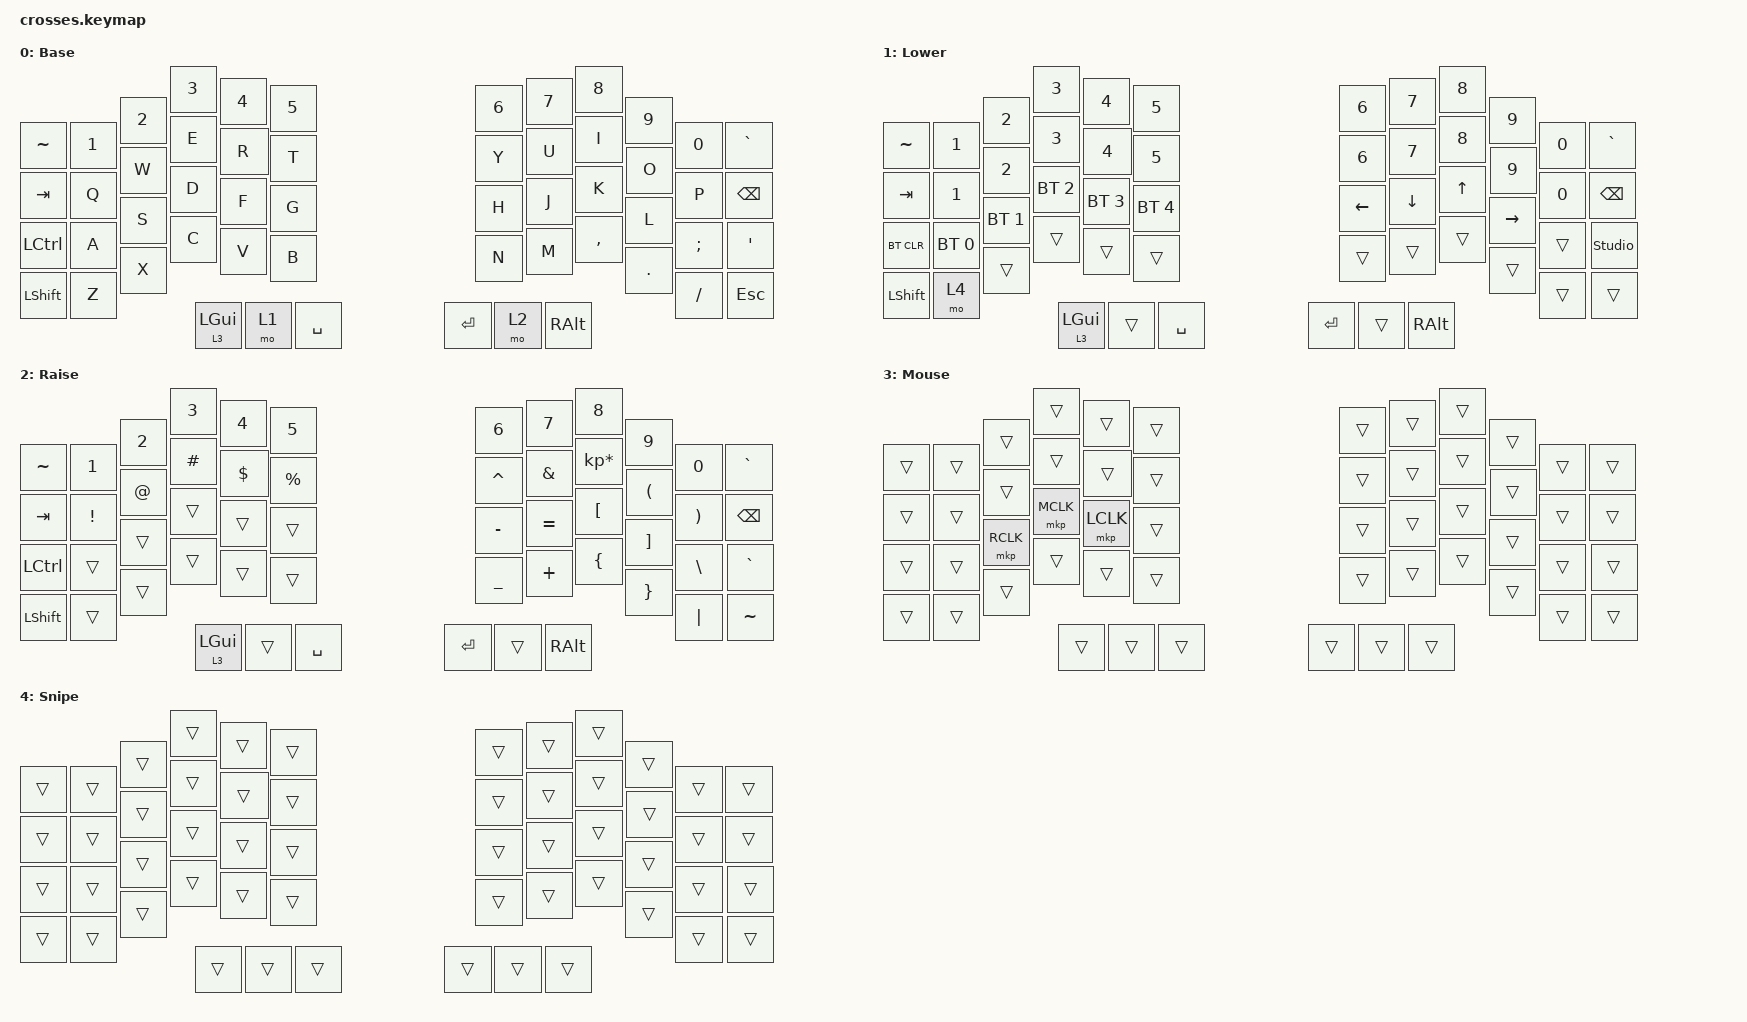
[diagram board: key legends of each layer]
#include <behaviors.dtsi>
#include <dt-bindings/zmk/bt.h>
#include <dt-bindings/zmk/keys.h>
#include <dt-bindings/zmk/pointing.h>

&lt {
    tapping-term-ms = <200>;
    flavor = "balanced";
    quick-tap-ms = <150>;
};

/ {
    combos {
        compatible = "zmk,combos";
        // ZMK Studio unlock = press the two inner keys (T-pos + Y-pos) together
        combo_studio_unlock {
            timeout-ms = <100>;
            key-positions = <17 18>;
            bindings = <&studio_unlock>;
        };
    };

    keymap {
        compatible = "zmk,keymap";

        Base {
            display-name = "Base";
            bindings = <
&kp TILDE &kp N1 &kp N2 &kp N3 &kp N4 &kp N5   &kp N6 &kp N7 &kp N8    &kp N9  &kp N0   &kp GRAVE
&kp TAB   &kp Q  &kp W  &kp E  &kp R  &kp T    &kp Y  &kp U  &kp I     &kp O   &kp P    &kp BSPC
&kp LCTRL &kp A  &kp S  &kp D  &kp F  &kp G    &kp H  &kp J  &kp K     &kp L   &kp SEMI &kp SQT
&kp LSHFT &kp Z  &kp X  &kp C  &kp V  &kp B    &kp N  &kp M  &kp COMMA &kp DOT &kp FSLH &kp ESC
                  &lt 3 LGUI &mo 1 &kp SPACE   &kp RET &mo 2 &kp RALT
            >;
        };

        Lower {
            display-name = "Lower";
            bindings = <
&kp TILDE  &kp N1       &kp N2       &kp N3       &kp N4       &kp N5         &kp N6   &kp N7   &kp N8 &kp N9    &kp N0 &kp GRAVE
&kp TAB    &kp N1       &kp N2       &kp N3       &kp N4       &kp N5         &kp N6   &kp N7   &kp N8 &kp N9    &kp N0 &kp BSPC
&bt BT_CLR &bt BT_SEL 0 &bt BT_SEL 1 &bt BT_SEL 2 &bt BT_SEL 3 &bt BT_SEL 4   &kp LEFT &kp DOWN &kp UP &kp RIGHT &trans &studio_unlock
&kp LSHFT  &mo 4        &trans       &trans       &trans       &trans         &trans   &trans   &trans &trans    &trans &trans
                            &lt 3 LGUI   &trans       &kp SPACE      &kp RET   &trans   &kp RALT
            >;
        };

        Raise {
            display-name = "Raise";
            bindings = <
&kp TILDE &kp N1   &kp N2 &kp N3   &kp N4   &kp N5      &kp N6    &kp N7    &kp N8          &kp N9   &kp N0   &kp GRAVE
&kp TAB   &kp EXCL &kp AT &kp HASH &kp DLLR &kp PRCNT   &kp CARET &kp AMPS  &kp KP_MULTIPLY &kp LPAR &kp RPAR &kp BSPC
&kp LCTRL &trans   &trans &trans   &trans   &trans      &kp MINUS &kp EQUAL &kp LBKT        &kp RBKT &kp BSLH &kp GRAVE
&kp LSHFT &trans   &trans &trans   &trans   &trans      &kp UNDER &kp PLUS  &kp LBRC        &kp RBRC &kp PIPE &kp TILDE
                     &lt 3 LGUI &trans &kp SPACE   &kp RET &trans &kp RALT
            >;
        };

        Mouse {
            display-name = "Mouse";
            bindings = <
&trans &trans &trans    &trans    &trans    &trans   &trans &trans &trans &trans &trans &trans
&trans &trans &trans    &trans    &trans    &trans   &trans &trans &trans &trans &trans &trans
&trans &trans &mkp RCLK &mkp MCLK &mkp LCLK &trans   &trans &trans &trans &trans &trans &trans
&trans &trans &trans    &trans    &trans    &trans   &trans &trans &trans &trans &trans &trans
                 &trans    &trans    &trans   &trans &trans &trans
            >;
        };

        Snipe_Hold {
            display-name = "Snipe";
            bindings = <
&trans &trans &trans &trans &trans &trans   &trans &trans &trans &trans &trans &trans
&trans &trans &trans &trans &trans &trans   &trans &trans &trans &trans &trans &trans
&trans &trans &trans &trans &trans &trans   &trans &trans &trans &trans &trans &trans
&trans &trans &trans &trans &trans &trans   &trans &trans &trans &trans &trans &trans
                 &trans &trans &trans   &trans &trans &trans
            >;
        };
    };
};
